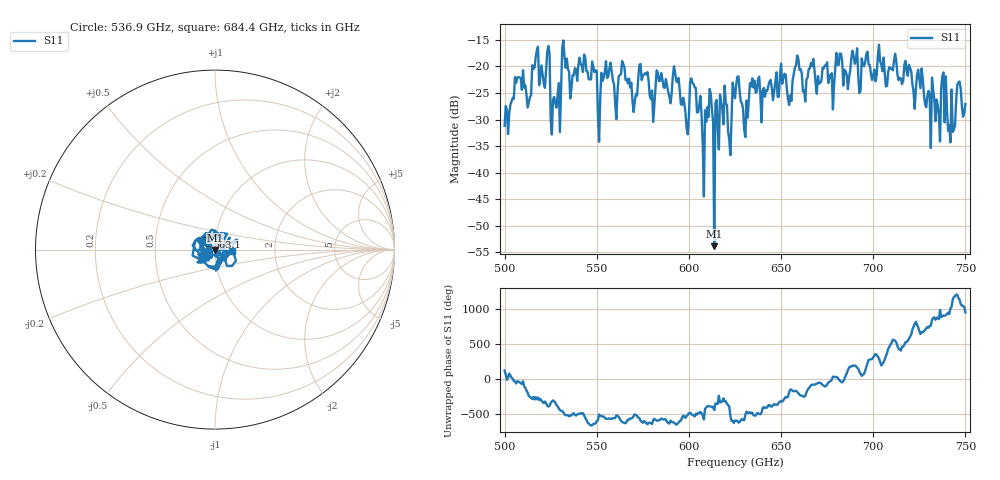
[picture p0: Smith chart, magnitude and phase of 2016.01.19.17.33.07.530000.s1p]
!Created with skrf (http://scikit-rf.org).
# GHz S RI R 50.0
!freq ReS11 ImS11
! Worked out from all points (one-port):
!   401 points, 500 GHz to 750 GHz, reference 50 ohm
!   lowest |S11| = -53.8 dB at 613.8 GHz (marker M1), VSWR 1.00, Z = 50 - j0.204 ohm
!   |S11| at or under -10 dB: start of sweep to end of sweep
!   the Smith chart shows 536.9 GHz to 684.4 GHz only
!   S11 on the Smith chart (normalised r, x): 536.9 GHz: 0.87, -0.08; 563.1 GHz: 0.91, +0.13; 684.4 GHz: 1.20, -0.02
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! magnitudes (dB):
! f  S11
! 500 GHz  -31.2
! 506.9 GHz  -22.1
! 513.1 GHz  -26.8
! 516.9 GHz  -18.2
! 523.1 GHz  -17.3
! 526.2 GHz  -26.2
! 531.2 GHz  -16.6
! 536.9 GHz  -21.7
! 562.5 GHz  -21.6
! 563.1 GHz  -21.4
! 570.6 GHz  -26.6
! 593.8 GHz  -23.0
! 611.2 GHz  -24.2
! 613.8 GHz  -53.8
! 618.1 GHz  -28.0
! 621.9 GHz  -33.8
! 625 GHz  -26.0
! 630.6 GHz  -33.3
! 634.4 GHz  -22.3
! 656.2 GHz  -22.6
! 684.4 GHz  -20.6
! 687.5 GHz  -20.8
! 718.8 GHz  -21.8
! 735 GHz  -27.3
! 738.1 GHz  -21.1
! 741.9 GHz  -34.3
! 746.2 GHz  -23.0
! 750 GHz  -27.1
